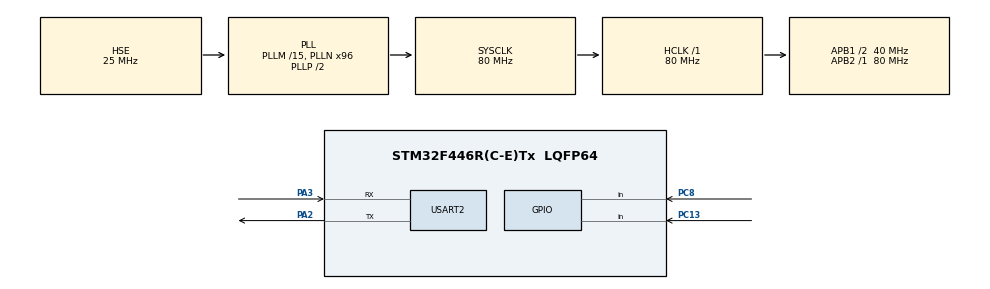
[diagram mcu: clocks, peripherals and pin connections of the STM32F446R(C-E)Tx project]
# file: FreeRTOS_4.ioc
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FREERTOS.BinarySemaphores01=BinSem,Dynamic,NULL
FREERTOS.Tasks01=task1,0,128,StartTask1,Default,NULL,Dynamic,NULL,NULL;task2,1,128,StartTask2,Default,NULL,Dynamic,NULL,NULL;task3,-1,128,StartTask3,Default,NULL,Dynamic,NULL,NULL
FREERTOS.configUSE_NEWLIB_REENTRANT=1
Mcu.Family=STM32F4
Mcu.Name=STM32F446R(C-E)Tx
Mcu.Package=LQFP64
NVIC.PriorityGroup=NVIC_PRIORITYGROUP_4
NVIC.TIM1_UP_TIM10_IRQn=true\:15\:0\:false\:false\:true\:false\:false\:true\:true
NVIC.TimeBase=TIM1_UP_TIM10_IRQn
NVIC.TimeBaseIP=TIM1
PA13.Mode=Serial_Wire
PA13.Signal=SYS_JTMS-SWDIO
PA14.Mode=Serial_Wire
PA14.Signal=SYS_JTCK-SWCLK
PA2.Mode=Asynchronous
PA2.Signal=USART2_TX
PA3.Mode=Asynchronous
PA3.Signal=USART2_RX
PC13.Signal=GPIO_Input
PC8.Signal=GPIO_Input
PH0-OSC_IN.Mode=HSE-External-Oscillator
PH0-OSC_IN.Signal=RCC_OSC_IN
PH1-OSC_OUT.Mode=HSE-External-Oscillator
PH1-OSC_OUT.Signal=RCC_OSC_OUT
ProjectManager.HeapSize=0x200
ProjectManager.StackSize=0x400
ProjectManager.TargetToolchain=STM32CubeIDE
RCC.AHBFreq_Value=80000000
RCC.APB1CLKDivider=RCC_HCLK_DIV2
RCC.APB1Freq_Value=40000000
RCC.APB1TimFreq_Value=80000000
RCC.APB2Freq_Value=80000000
RCC.APB2TimFreq_Value=80000000
RCC.CortexFreq_Value=80000000
RCC.HCLKFreq_Value=80000000
RCC.PLLM=15
RCC.PLLN=96
RCC.PLLSourceVirtual=RCC_PLLSOURCE_HSE
RCC.SYSCLKFreq_VALUE=80000000
RCC.SYSCLKSource=RCC_SYSCLKSOURCE_PLLCLK
RCC.USBFreq_Value=80000000
RCC.VCOOutputFreq_Value=160000000
USART2.VirtualMode=VM_ASYNC
VP_FREERTOS_VS_CMSIS_V1.Mode=CMSIS_V1
VP_SYS_VS_tim1.Mode=TIM1
board=custom

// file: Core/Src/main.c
/* USER CODE BEGIN Header */
/**
  ******************************************************************************
  * @file           : main.c
  * @brief          : Main program body
  ******************************************************************************
  * @attention
  *
  * Copyright (c) 2024 STMicroelectronics.
  * All rights reserved.
  *
  * This software is licensed under terms that can be found in the LICENSE file
  * in the root directory of this software component.
  * If no LICENSE file comes with this software, it is provided AS-IS.
  *
  ******************************************************************************
  */
/* USER CODE END Header */
#include "main.h"
#include "cmsis_os.h"
#include <string.h>

UART_HandleTypeDef huart2;

osThreadId task1Handle;
osThreadId task2Handle;
osThreadId task3Handle;
osSemaphoreId BinSemHandle;

void SystemClock_Config(void);
static void MX_GPIO_Init(void);
static void MX_USART2_UART_Init(void);
void StartTask1(void const * argument);
void StartTask2(void const * argument);
void StartTask3(void const * argument);

int main(void)
{

  /* MCU Configuration--------------------------------------------------------*/

  /* Reset of all peripherals, Initializes the Flash interface and the Systick. */
  HAL_Init();

  /* Configure the system clock */
  SystemClock_Config();

  /* Initialize all configured peripherals */
  MX_GPIO_Init();
  MX_USART2_UART_Init();

  /* Create the semaphores(s) */
  /* definition and creation of BinSem */
  osSemaphoreDef(BinSem);
  BinSemHandle = osSemaphoreCreate(osSemaphore(BinSem), 1);

  /* Create the thread(s) */
  /* definition and creation of task1 */
  osThreadDef(task1, StartTask1, osPriorityNormal, 0, 128);
  task1Handle = osThreadCreate(osThread(task1), NULL);

  /* definition and creation of task2 */
  osThreadDef(task2, StartTask2, osPriorityAboveNormal, 0, 128);
  task2Handle = osThreadCreate(osThread(task2), NULL);

  /* definition and creation of task3 */
  osThreadDef(task3, StartTask3, osPriorityBelowNormal, 0, 128);
  task3Handle = osThreadCreate(osThread(task3), NULL);

  /* Start scheduler */
  osKernelStart();

  /* We should never get here as control is now taken by the scheduler */

  /* Infinite loop */
  while (1)
  {

  }
}

void SystemClock_Config(void)
{
  RCC_OscInitTypeDef RCC_OscInitStruct = {0};
  RCC_ClkInitTypeDef RCC_ClkInitStruct = {0};

  /** Configure the main internal regulator output voltage
  */
  __HAL_RCC_PWR_CLK_ENABLE();
  __HAL_PWR_VOLTAGESCALING_CONFIG(PWR_REGULATOR_VOLTAGE_SCALE3);

  /** Initializes the RCC Oscillators according to the specified parameters
  * in the RCC_OscInitTypeDef structure.
  */
  RCC_OscInitStruct.OscillatorType = RCC_OSCILLATORTYPE_HSE;
  RCC_OscInitStruct.HSEState = RCC_HSE_ON;
  RCC_OscInitStruct.PLL.PLLState = RCC_PLL_ON;
  RCC_OscInitStruct.PLL.PLLSource = RCC_PLLSOURCE_HSE;
  RCC_OscInitStruct.PLL.PLLM = 15;
  RCC_OscInitStruct.PLL.PLLN = 96;
  RCC_OscInitStruct.PLL.PLLP = RCC_PLLP_DIV2;
  RCC_OscInitStruct.PLL.PLLQ = 2;
  RCC_OscInitStruct.PLL.PLLR = 2;
  if (HAL_RCC_OscConfig(&RCC_OscInitStruct) != HAL_OK)
  {
    Error_Handler();
  }

  /** Initializes the CPU, AHB and APB buses clocks
  */
  RCC_ClkInitStruct.ClockType = RCC_CLOCKTYPE_HCLK|RCC_CLOCKTYPE_SYSCLK
                              |RCC_CLOCKTYPE_PCLK1|RCC_CLOCKTYPE_PCLK2;
  RCC_ClkInitStruct.SYSCLKSource = RCC_SYSCLKSOURCE_PLLCLK;
  RCC_ClkInitStruct.AHBCLKDivider = RCC_SYSCLK_DIV1;
  RCC_ClkInitStruct.APB1CLKDivider = RCC_HCLK_DIV2;
  RCC_ClkInitStruct.APB2CLKDivider = RCC_HCLK_DIV1;

  if (HAL_RCC_ClockConfig(&RCC_ClkInitStruct, FLASH_LATENCY_2) != HAL_OK)
  {
    Error_Handler();
  }
}

static void MX_USART2_UART_Init(void)
{

  huart2.Instance = USART2;
  huart2.Init.BaudRate = 115200;
  huart2.Init.WordLength = UART_WORDLENGTH_8B;
  huart2.Init.StopBits = UART_STOPBITS_1;
  huart2.Init.Parity = UART_PARITY_NONE;
  huart2.Init.Mode = UART_MODE_TX_RX;
  huart2.Init.HwFlowCtl = UART_HWCONTROL_NONE;
  huart2.Init.OverSampling = UART_OVERSAMPLING_16;
  if (HAL_UART_Init(&huart2) != HAL_OK)
  {
    Error_Handler();
  }

}

static void MX_GPIO_Init(void)
{
  GPIO_InitTypeDef GPIO_InitStruct = {0};

  /* GPIO Ports Clock Enable */
  __HAL_RCC_GPIOC_CLK_ENABLE();
  __HAL_RCC_GPIOH_CLK_ENABLE();
  __HAL_RCC_GPIOA_CLK_ENABLE();

  /*Configure GPIO pins : PC13 PC8 */
  GPIO_InitStruct.Pin = GPIO_PIN_13|GPIO_PIN_8;
  GPIO_InitStruct.Mode = GPIO_MODE_INPUT;
  GPIO_InitStruct.Pull = GPIO_NOPULL;
  HAL_GPIO_Init(GPIOC, &GPIO_InitStruct);

}

void StartTask1(void const * argument)
{
  /* USER CODE BEGIN 5 */
  /* Infinite loop */
  for(;;)
  {	char *str1 = "Entered to task1\r\n";
	HAL_UART_Transmit(&huart2, (uint8_t *)str, strlen(str), 500);

	char *str2 = "leaving task1\r\n";
	HAL_UART_Transmit(&huart2, (uint8_t *)str, strlen(str), 500);
    osDelay(1000);
  }
  /* USER CODE END 5 */
}

void StartTask2(void const * argument)
{
  /* USER CODE BEGIN StartTask2 */
  /* Infinite loop */
  for(;;)
  {	char *str1 = "Entered to task2\r\n";
	HAL_UART_Transmit(&huart2, (uint8_t *)str, strlen(str), 500);

	char *str2 = "leaving task2\r\n";
	HAL_UART_Transmit(&huart2, (uint8_t *)str, strlen(str), 500);
    osDelay(1000);
  }
  /* USER CODE END StartTask2 */
}
void StartTask3(void const * argument)
{
  /* USER CODE BEGIN StartTask3 */
  /* Infinite loop */
  for(;;)
  {	char *str1 = "Entered to task3\r\n";
	HAL_UART_Transmit(&huart2, (uint8_t *)str, strlen(str), 500);

	char *str2 = "leaving task3\r\n";
	HAL_UART_Transmit(&huart2, (uint8_t *)str, strlen(str), 500);
    osDelay(1000);
  }
  /* USER CODE END StartTask3 */
}

void HAL_TIM_PeriodElapsedCallback(TIM_HandleTypeDef *htim)
{
  if (htim->Instance == TIM1) {
    HAL_IncTick();
  }
}

void Error_Handler(void)
{
  __disable_irq();
  while (1)
  {
  }
}
